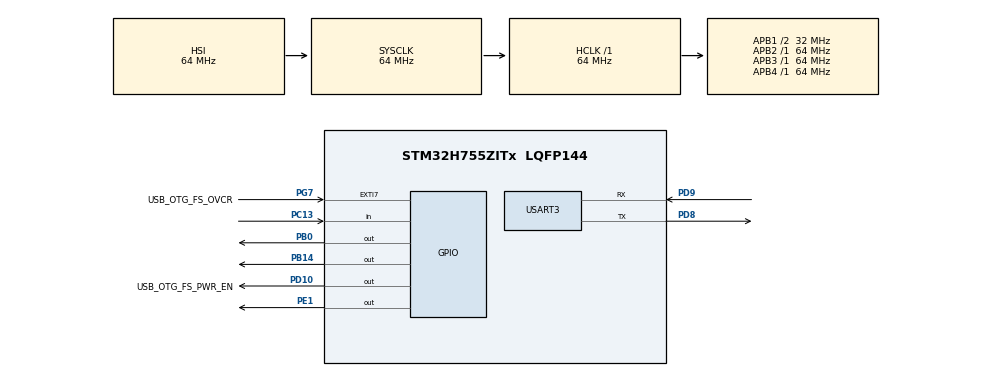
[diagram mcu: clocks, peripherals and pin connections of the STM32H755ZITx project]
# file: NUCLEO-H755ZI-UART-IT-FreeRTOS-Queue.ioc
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CortexM4.IPs=FATFS_M4\:I,FREERTOS_M4\:I,IWDG2\:I,RCC,WWDG2\:I,DMA,BDMA,MDMA,NVIC2\:I,ETH,USART3,DEBUG,PDM2PCM_M4\:I,PWR,RESMGR_UTILITY,SYS_M4\:I,USB_DEVICE_M4\:I,USB_HOST_M4\:I,CORTEX_M4\:I,GPIO,OPENAMP_M4\:I,VREFBUF,NUCLEO-H755ZI-Q
CortexM7.IPs=FATFS_M7\:I,FREERTOS_M7\:I,IWDG1\:I,RCC\:I,WWDG1\:I,DMA\:I,BDMA\:I,MDMA\:I,NVIC1\:I,ETH\:I,USART3\:I,USB_OTG_FS\:I,SYS\:I,CORTEX_M7\:I,DEBUG\:I,PDM2PCM_M7\:I,PWR\:I,RESMGR_UTILITY\:I,USB_DEVICE_M7\:I,USB_HOST_M7\:I,GPIO\:I,OPENAMP_M7\:I,VREFBUF\:I,NUCLEO-H755ZI-Q\:I,TIM6\:I
FREERTOS_M7.Queues01=UartRxQueue,64,uint8_t,0,Dynamic,NULL,NULL
FREERTOS_M7.Tasks01=defaultTask,24,128,StartDefaultTask,Default,NULL,Dynamic,NULL,NULL;SerialProcess,24,256,SerialProcessTask,Default,NULL,Dynamic,NULL,NULL
FREERTOS_M7.configUSE_NEWLIB_REENTRANT=1
Mcu.Family=STM32H7
Mcu.Name=STM32H755ZITx
Mcu.Package=LQFP144
NVIC1.PriorityGroup=NVIC_PRIORITYGROUP_4
NVIC1.TIM6_DAC_IRQn=true\:15\:0\:false\:false\:true\:false\:false\:true\:true
NVIC1.TimeBase=TIM6_DAC_IRQn
NVIC1.TimeBaseIP=TIM6
NVIC1.USART3_IRQn=true\:5\:0\:false\:false\:true\:true\:true\:true\:true
NVIC2.PriorityGroup=NVIC_PRIORITYGROUP_4
PA1.PinAttribute=CortexM7
PA1.Signal=ETH_REF_CLK
PA11.PinAttribute=CortexM7
PA11.Signal=USB_OTG_FS_DM
PA12.PinAttribute=CortexM7
PA12.Signal=USB_OTG_FS_DP
PA2.PinAttribute=CortexM7
PA2.Signal=ETH_MDIO
PA7.PinAttribute=CortexM7
PA7.Signal=ETH_CRS_DV
PA8.PinAttribute=CortexM7
PA8.Signal=USB_OTG_FS_SOF
PA9.PinAttribute=CortexM7
PA9.Signal=USB_OTG_FS_VBUS
PB0.PinAttribute=Free
PB0.Signal=GPIO_Output
PB13.PinAttribute=CortexM7
PB13.Signal=ETH_TXD1
PB14.PinAttribute=Free
PB14.Signal=GPIO_Output
PC1.PinAttribute=CortexM7
PC1.Signal=ETH_MDC
PC13.PinAttribute=Free
PC13.Signal=GPIO_Input
PC14-OSC32_IN\ (OSC32_IN).PinAttribute=Free
PC14-OSC32_IN\ (OSC32_IN).Signal=RCC_OSC32_IN
PC15-OSC32_OUT\ (OSC32_OUT).PinAttribute=Free
PC15-OSC32_OUT\ (OSC32_OUT).Signal=RCC_OSC32_OUT
PC4.PinAttribute=CortexM7
PC4.Signal=ETH_RXD0
PC5.PinAttribute=CortexM7
PC5.Signal=ETH_RXD1
PD10.GPIO_Label=USB_OTG_FS_PWR_EN
PD10.PinAttribute=Free
PD10.Signal=GPIO_Output
PD8.Mode=Asynchronous
PD8.PinAttribute=CortexM7
PD8.Signal=USART3_TX
PD9.Mode=Asynchronous
PD9.PinAttribute=CortexM7
PD9.Signal=USART3_RX
PE1.PinAttribute=Free
PE1.Signal=GPIO_Output
PG11.PinAttribute=CortexM7
PG11.Signal=ETH_TX_EN
PG13.PinAttribute=CortexM7
PG13.Signal=ETH_TXD0
PG7.GPIO_Label=USB_OTG_FS_OVCR
PG7.PinAttribute=Free
PG7.Signal=GPXTI7
PH0-OSC_IN\ (PH0).PinAttribute=Free
PH0-OSC_IN\ (PH0).Signal=RCC_OSC_IN
PH1-OSC_OUT\ (PH1).PinAttribute=Free
PH1-OSC_OUT\ (PH1).Signal=RCC_OSC_OUT
ProjectManager.HeapSize=M4-0x200,M7-0x200
ProjectManager.StackSize=M4-0x400,M7-0x400
ProjectManager.TargetToolchain=STM32CubeIDE
RCC.ADCFreq_Value=129000000
RCC.APB1Freq_Value=32000000
RCC.APB2Freq_Value=64000000
RCC.APB3Freq_Value=64000000
RCC.APB4Freq_Value=64000000
RCC.CortexFreq_Value=64000000
RCC.D2PPRE1=RCC_APB1_DIV2
RCC.DIVM1=5
RCC.DIVN1=48
RCC.DIVQ1=5
RCC.HCLKFreq_Value=64000000
RCC.PLL2FRACN=0
RCC.PLL3FRACN=0
RCC.PLLFRACN=0
RCC.SYSCLKFreq_VALUE=64000000
RCC.SupplySource=PWR_DIRECT_SMPS_SUPPLY
RCC.USBFreq_Value=122880000
USART3.VirtualMode-Asynchronous=VM_ASYNC
VP_FREERTOS_M7_VS_CMSIS_V2.Mode=CMSIS_V2
VP_SYS_M4_VS_Systick.Mode=SysTick
VP_SYS_VS_tim6.Mode=TIM6
board=NUCLEO-H755ZI-Q

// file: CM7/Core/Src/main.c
/* USER CODE BEGIN Header */
/**
  ******************************************************************************
  * @file           : main.c
  * @brief          : Main program body
  ******************************************************************************
  * @attention
  *
  * Copyright (c) 2024 STMicroelectronics.
  * All rights reserved.
  *
  * This software is licensed under terms that can be found in the LICENSE file
  * in the root directory of this software component.
  * If no LICENSE file comes with this software, it is provided AS-IS.
  *
  ******************************************************************************
  */
/* USER CODE END Header */
#include "main.h"
#include "cmsis_os.h"

/* USER CODE BEGIN Includes */
#include <stdio.h>
#include <string.h>
/* USER CODE END Includes */

/* USER CODE BEGIN PD */

#ifndef HSEM_ID_0
#define HSEM_ID_0 (0U) /* HW semaphore 0*/
#endif

/* USER CODE END PD */

/* USER CODE BEGIN PM */

// redirect printf() function to USARTx
#define PUTCHAR_PROTOTYPE int __io_putchar(int ch)

/* USER CODE END PM */

UART_HandleTypeDef huart3;

/* Definitions for defaultTask */
osThreadId_t defaultTaskHandle;
const osThreadAttr_t defaultTask_attributes = {
  .name = "defaultTask",
  .stack_size = 128 * 4,
  .priority = (osPriority_t) osPriorityNormal,
};
/* Definitions for SerialProcess */
osThreadId_t SerialProcessHandle;
const osThreadAttr_t SerialProcess_attributes = {
  .name = "SerialProcess",
  .stack_size = 256 * 4,
  .priority = (osPriority_t) osPriorityNormal,
};
/* Definitions for UartRxQueue */
osMessageQueueId_t UartRxQueueHandle;
const osMessageQueueAttr_t UartRxQueue_attributes = {
  .name = "UartRxQueue"
};
/* USER CODE BEGIN PV */

// RX buffer for ISR
#define ISR_RX_BUFFER_SIZE 1U
static uint8_t uartIrqRxBuffer[ISR_RX_BUFFER_SIZE];

// Buffer for accumulating bytes in the thread
#define UART_PROCESS_BUFFER_SIZE 32U
static uint8_t uartProcessBuffer[UART_PROCESS_BUFFER_SIZE];
static uint16_t uartProcessBufferIndex = 0;

static const uint32_t UART_PROCESS_TIMEOUT = 1000;

/* USER CODE END PV */

void SystemClock_Config(void);
static void MX_GPIO_Init(void);
static void MX_USART3_UART_Init(void);
void StartDefaultTask(void *argument);
void SerialProcessTask(void *argument);

/* USER CODE BEGIN PFP */

static void ProcessBuffer(uint8_t* buffer, uint16_t size);

/* USER CODE END PFP */

int main(void)
{

/* USER CODE BEGIN Boot_Mode_Sequence_0 */
  int32_t timeout;
/* USER CODE END Boot_Mode_Sequence_0 */

/* USER CODE BEGIN Boot_Mode_Sequence_1 */
  /* Wait until CPU2 boots and enters in stop mode or timeout*/
  timeout = 0xFFFF;
  while((__HAL_RCC_GET_FLAG(RCC_FLAG_D2CKRDY) != RESET) && (timeout-- > 0));
  if ( timeout < 0 )
  {
  Error_Handler();
  }
/* USER CODE END Boot_Mode_Sequence_1 */
  /* MCU Configuration--------------------------------------------------------*/

  /* Reset of all peripherals, Initializes the Flash interface and the Systick. */
  HAL_Init();

  /* Configure the system clock */
  SystemClock_Config();
/* USER CODE BEGIN Boot_Mode_Sequence_2 */
/* When system initialization is finished, Cortex-M7 will release Cortex-M4 by means of
HSEM notification */
/*HW semaphore Clock enable*/
__HAL_RCC_HSEM_CLK_ENABLE();
/*Take HSEM */
HAL_HSEM_FastTake(HSEM_ID_0);
/*Release HSEM in order to notify the CPU2(CM4)*/
HAL_HSEM_Release(HSEM_ID_0,0);
/* wait until CPU2 wakes up from stop mode */
timeout = 0xFFFF;
while((__HAL_RCC_GET_FLAG(RCC_FLAG_D2CKRDY) == RESET) && (timeout-- > 0));
if ( timeout < 0 )
{
Error_Handler();
}
/* USER CODE END Boot_Mode_Sequence_2 */

  /* Initialize all configured peripherals */
  MX_GPIO_Init();
  MX_USART3_UART_Init();

  /* Init scheduler */
  osKernelInitialize();

  /* Create the queue(s) */
  /* creation of UartRxQueue */
  UartRxQueueHandle = osMessageQueueNew (64, sizeof(uint8_t), &UartRxQueue_attributes);

  /* Create the thread(s) */
  /* creation of defaultTask */
  defaultTaskHandle = osThreadNew(StartDefaultTask, NULL, &defaultTask_attributes);

  /* creation of SerialProcess */
  SerialProcessHandle = osThreadNew(SerialProcessTask, NULL, &SerialProcess_attributes);

  /* Start scheduler */
  osKernelStart();

  /* We should never get here as control is now taken by the scheduler */

  /* Infinite loop */
  while (1)
  {

  }
}

void SystemClock_Config(void)
{
  RCC_OscInitTypeDef RCC_OscInitStruct = {0};
  RCC_ClkInitTypeDef RCC_ClkInitStruct = {0};

  /** Supply configuration update enable
  */
  HAL_PWREx_ConfigSupply(PWR_DIRECT_SMPS_SUPPLY);

  /** Configure the main internal regulator output voltage
  */
  __HAL_PWR_VOLTAGESCALING_CONFIG(PWR_REGULATOR_VOLTAGE_SCALE3);

  while(!__HAL_PWR_GET_FLAG(PWR_FLAG_VOSRDY)) {}

  /** Initializes the RCC Oscillators according to the specified parameters
  * in the RCC_OscInitTypeDef structure.
  */
  RCC_OscInitStruct.OscillatorType = RCC_OSCILLATORTYPE_HSI;
  RCC_OscInitStruct.HSIState = RCC_HSI_DIV1;
  RCC_OscInitStruct.HSICalibrationValue = RCC_HSICALIBRATION_DEFAULT;
  RCC_OscInitStruct.PLL.PLLState = RCC_PLL_NONE;
  if (HAL_RCC_OscConfig(&RCC_OscInitStruct) != HAL_OK)
  {
    Error_Handler();
  }

  /** Initializes the CPU, AHB and APB buses clocks
  */
  RCC_ClkInitStruct.ClockType = RCC_CLOCKTYPE_HCLK|RCC_CLOCKTYPE_SYSCLK
                              |RCC_CLOCKTYPE_PCLK1|RCC_CLOCKTYPE_PCLK2
                              |RCC_CLOCKTYPE_D3PCLK1|RCC_CLOCKTYPE_D1PCLK1;
  RCC_ClkInitStruct.SYSCLKSource = RCC_SYSCLKSOURCE_HSI;
  RCC_ClkInitStruct.SYSCLKDivider = RCC_SYSCLK_DIV1;
  RCC_ClkInitStruct.AHBCLKDivider = RCC_HCLK_DIV1;
  RCC_ClkInitStruct.APB3CLKDivider = RCC_APB3_DIV1;
  RCC_ClkInitStruct.APB1CLKDivider = RCC_APB1_DIV2;
  RCC_ClkInitStruct.APB2CLKDivider = RCC_APB2_DIV1;
  RCC_ClkInitStruct.APB4CLKDivider = RCC_APB4_DIV1;

  if (HAL_RCC_ClockConfig(&RCC_ClkInitStruct, FLASH_LATENCY_1) != HAL_OK)
  {
    Error_Handler();
  }
}

static void MX_USART3_UART_Init(void)
{

  huart3.Instance = USART3;
  huart3.Init.BaudRate = 115200;
  huart3.Init.WordLength = UART_WORDLENGTH_8B;
  huart3.Init.StopBits = UART_STOPBITS_1;
  huart3.Init.Parity = UART_PARITY_NONE;
  huart3.Init.Mode = UART_MODE_TX_RX;
  huart3.Init.HwFlowCtl = UART_HWCONTROL_NONE;
  huart3.Init.OverSampling = UART_OVERSAMPLING_16;
  huart3.Init.OneBitSampling = UART_ONE_BIT_SAMPLE_DISABLE;
  huart3.Init.ClockPrescaler = UART_PRESCALER_DIV1;
  huart3.AdvancedInit.AdvFeatureInit = UART_ADVFEATURE_NO_INIT;
  if (HAL_UART_Init(&huart3) != HAL_OK)
  {
    Error_Handler();
  }
  if (HAL_UARTEx_SetTxFifoThreshold(&huart3, UART_TXFIFO_THRESHOLD_1_8) != HAL_OK)
  {
    Error_Handler();
  }
  if (HAL_UARTEx_SetRxFifoThreshold(&huart3, UART_RXFIFO_THRESHOLD_1_8) != HAL_OK)
  {
    Error_Handler();
  }
  if (HAL_UARTEx_DisableFifoMode(&huart3) != HAL_OK)
  {
    Error_Handler();
  }

}

static void MX_GPIO_Init(void)
{
  GPIO_InitTypeDef GPIO_InitStruct = {0};

  /* GPIO Ports Clock Enable */
  __HAL_RCC_GPIOC_CLK_ENABLE();
  __HAL_RCC_GPIOA_CLK_ENABLE();
  __HAL_RCC_GPIOB_CLK_ENABLE();
  __HAL_RCC_GPIOD_CLK_ENABLE();
  __HAL_RCC_GPIOG_CLK_ENABLE();

  /*Configure GPIO pins : PC1 PC4 PC5 */
  GPIO_InitStruct.Pin = GPIO_PIN_1|GPIO_PIN_4|GPIO_PIN_5;
  GPIO_InitStruct.Mode = GPIO_MODE_AF_PP;
  GPIO_InitStruct.Pull = GPIO_NOPULL;
  GPIO_InitStruct.Speed = GPIO_SPEED_FREQ_LOW;
  GPIO_InitStruct.Alternate = GPIO_AF11_ETH;
  HAL_GPIO_Init(GPIOC, &GPIO_InitStruct);

  /*Configure GPIO pins : PA1 PA2 PA7 */
  GPIO_InitStruct.Pin = GPIO_PIN_1|GPIO_PIN_2|GPIO_PIN_7;
  GPIO_InitStruct.Mode = GPIO_MODE_AF_PP;
  GPIO_InitStruct.Pull = GPIO_NOPULL;
  GPIO_InitStruct.Speed = GPIO_SPEED_FREQ_LOW;
  GPIO_InitStruct.Alternate = GPIO_AF11_ETH;
  HAL_GPIO_Init(GPIOA, &GPIO_InitStruct);

  /*Configure GPIO pin : PB13 */
  GPIO_InitStruct.Pin = GPIO_PIN_13;
  GPIO_InitStruct.Mode = GPIO_MODE_AF_PP;
  GPIO_InitStruct.Pull = GPIO_NOPULL;
  GPIO_InitStruct.Speed = GPIO_SPEED_FREQ_LOW;
  GPIO_InitStruct.Alternate = GPIO_AF11_ETH;
  HAL_GPIO_Init(GPIOB, &GPIO_InitStruct);

  /*Configure GPIO pins : PA8 PA11 PA12 */
  GPIO_InitStruct.Pin = GPIO_PIN_8|GPIO_PIN_11|GPIO_PIN_12;
  GPIO_InitStruct.Mode = GPIO_MODE_AF_PP;
  GPIO_InitStruct.Pull = GPIO_NOPULL;
  GPIO_InitStruct.Speed = GPIO_SPEED_FREQ_LOW;
  GPIO_InitStruct.Alternate = GPIO_AF10_OTG1_FS;
  HAL_GPIO_Init(GPIOA, &GPIO_InitStruct);

  /*Configure GPIO pins : PG11 PG13 */
  GPIO_InitStruct.Pin = GPIO_PIN_11|GPIO_PIN_13;
  GPIO_InitStruct.Mode = GPIO_MODE_AF_PP;
  GPIO_InitStruct.Pull = GPIO_NOPULL;
  GPIO_InitStruct.Speed = GPIO_SPEED_FREQ_LOW;
  GPIO_InitStruct.Alternate = GPIO_AF11_ETH;
  HAL_GPIO_Init(GPIOG, &GPIO_InitStruct);

}

/* USER CODE BEGIN 4 */

/**
  * @brief  Retargets the C library printf function to the USART.
  *   None
  * @retval None
  */
PUTCHAR_PROTOTYPE
{
  /* Place your implementation of fputc here */
  /* e.g. write a character to the USARTx and Loop until the end of transmission */
  HAL_UART_Transmit(&huart3, (uint8_t *)&ch, 1, HAL_MAX_DELAY);

  return ch;
}

/**
  * @brief  Rx Transfer completed callback.
  * @param  huart UART handle.
  * @retval None
 */
void HAL_UART_RxCpltCallback(UART_HandleTypeDef *huart)
{
  if (huart->Instance == USART3)
  {
    // Put the received byte into the queue
    osMessageQueuePut(UartRxQueueHandle, uartIrqRxBuffer, 0, 0);

    // Restart the interrupt to receive the next byte
    HAL_UART_Receive_IT(huart, uartIrqRxBuffer, ISR_RX_BUFFER_SIZE);
  }
}

static void ProcessBuffer(uint8_t *buffer, uint16_t size)
{
  // For now, we'll just print the buffer content
  printf("Received %d bytes: ", size);
  for (int i = 0; i < size; i++)
  {
    printf("%02X ", buffer[i]);
  }
  printf("\n");
}

/* USER CODE END 4 */

void StartDefaultTask(void *argument)
{
  for(;;)
  {
    osDelay(1);
  }
}

void SerialProcessTask(void *argument)
{
  /* USER CODE BEGIN SerialProcessTask */

  // Start UART reception in interrupt mode
  HAL_UART_Receive_IT(&huart3, uartIrqRxBuffer, ISR_RX_BUFFER_SIZE);

  uint8_t receivedByte;
  uint32_t lastReceiveTime = osKernelGetTickCount();

  /* Infinite loop */
  for (;;)
  {
    // Wait for a byte to be received
    if (osMessageQueueGet(UartRxQueueHandle, &receivedByte, NULL, UART_PROCESS_TIMEOUT) == osOK)
    {
      uartProcessBuffer[uartProcessBufferIndex++] = receivedByte;
      lastReceiveTime = osKernelGetTickCount();

      if (uartProcessBufferIndex >= UART_PROCESS_BUFFER_SIZE)
      {
        ProcessBuffer(uartProcessBuffer, uartProcessBufferIndex);
        uartProcessBufferIndex = 0;
        memset(uartProcessBuffer, 0, UART_PROCESS_BUFFER_SIZE);
      }
    }
    else
    {
      // Timeout occurred, check if we have partial data
      if (uartProcessBufferIndex > 0 && (osKernelGetTickCount() - lastReceiveTime) >= UART_PROCESS_TIMEOUT)
      {
        ProcessBuffer(uartProcessBuffer, uartProcessBufferIndex);
        uartProcessBufferIndex = 0;
        memset(uartProcessBuffer, 0, UART_PROCESS_BUFFER_SIZE);
      }
    }
  }
  /* USER CODE END SerialProcessTask */
}

void HAL_TIM_PeriodElapsedCallback(TIM_HandleTypeDef *htim)
{
  if (htim->Instance == TIM6) {
    HAL_IncTick();
  }
}

void Error_Handler(void)
{
  __disable_irq();
  while (1)
  {
  }
}
